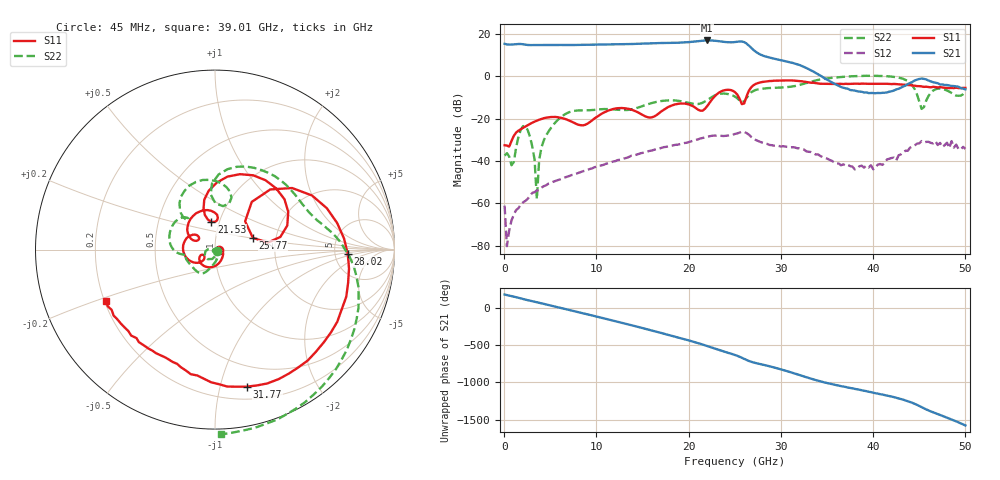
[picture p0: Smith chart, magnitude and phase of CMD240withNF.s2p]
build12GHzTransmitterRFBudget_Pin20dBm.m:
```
%% Build a 12 GHz transmitter RF budget at 20 dBm input power
% This budget represents one output path of the four-way transmitter:
% 4 GHz IF filter -> driver -> 8 GHz-LO upconverter -> Wilkinson output
% -> PA -> 12 GHz dipole. The splitter distributes the signal to four
% equivalent PA/antenna paths; only one path belongs in an rfbudget cascade.

scriptDir = fileparts(mfilename("fullpath"));
helpersDir = fullfile(scriptDir, "helpers");

%% Operating point
fIF = 4e9;
fLO = 8e9;
fRF = fIF + fLO;
BW = 100e6;
Pin = 20; % dBm, available input power at the 4 GHz IF filter

driverFile = fullfile(helpersDir, "CMD240withNF.s2p");
splitterFile = fullfile(helpersDir, "WilkinsonSplitterData.mat");
assert(isfile(driverFile), "Driver S-parameter file not found: %s", driverFile);
assert(isfile(splitterFile), "Splitter S-parameter file not found: %s", splitterFile);

%% BFIC #1: 4 GHz IF filter
ifFilter = rffilter( ...
    Name="IFfilter", ...
    FilterType="InverseChebyshev", ...
    ResponseType="Bandpass", ...
    FilterOrder=5, ...
    PassbandFrequency=fIF + [-BW/2 BW/2], ...
    PassbandAttenuation=3);

%% BFIC #2: measured driver amplifier
driver = amplifier( ...
    Name="DriverAmp", ...
    Model="sparam", ...
    FileName=driverFile, ...
    OIP3=28, ...
    OP1dB=19, ...
    OPsat=22);

%% BFIC #3: 4 GHz IF to 12 GHz RF upconverter
upconverter = modulator( ...
    Name="Upconverter", ...
    LO=fLO, ...
    ConverterType="Up", ...
    Gain=6, ...
    NF=3, ...
    OIP3=32);

%% BFIC #4: one output of the four-way Wilkinson splitter
splitterData = load(splitterFile, "splitterSparam");
splitter = nport(splitterData.splitterSparam, "WilkinsonSplitter");
splitter.Input = 1;
splitter.Output = 2;
splitter.Termination = 50;

%% Final PA and representative 12 GHz dipole
pa = amplifier( ...
    Name="PowerAmp", ...
    Model="poly", ...
    Gain=25, ...
    NF=6, ...
    OIP3=45, ...
    OP1dB=33, ...
    OPsat=37.5);

dipoleElement = design(dipole, fRF);
dipoleSParameters = sparameters(dipoleElement, fRF);
dipoleGain = pattern(dipoleElement, fRF, 0, 0);
txAntenna = rfantenna( ...
    Name="DipoleAntenna", ...
    Type="Transmitter", ...
    Gain=dipoleGain, ...
    Z=s2z(dipoleSParameters.Parameters));

%% Build and report the nonlinear RF budget
% At Pin = 20 dBm, the driver and PA are well above their linear regions.
% HarmonicBalance therefore models their compression rather than merely
% extrapolating the small-signal gains.
elements = [ifFilter driver upconverter splitter pa txAntenna];
budget = rfbudget( ...
    Elements=elements, ...
    InputFrequency=fIF, ...
    AvailableInputPower=Pin, ...
    SignalBandwidth=BW, ...
    Solver="HarmonicBalance", ...
    HarmonicOrder=3);

stage = [ ...
    "IF filter"
    "Driver amplifier"
    "Upconverter"
    "Wilkinson splitter (one output)"
    "Power amplifier"
    "Dipole antenna"];

stageBudget = table( ...
    stage, ...
    budget.OutputFrequency(:)/1e9, ...
    budget.TransducerGain(:), ...
    budget.NF(:), ...
    budget.OIP3(:), ...
    budget.OutputPower(:), ...
    VariableNames=[ ...
        "Stage"
        "OutputFrequency_GHz"
        "CumulativeGain_dB"
        "CumulativeNF_dB"
        "CumulativeOIP3_dBm"
        "OutputPower_dBm"]);

fprintf("12 GHz transmitter RF budget (one splitter output path)\n");
fprintf("IF + LO = RF: %.1f + %.1f = %.1f GHz\n", ...
    fIF/1e9, fLO/1e9, fRF/1e9);
fprintf("Bandwidth: %.0f MHz; Pin: %.1f dBm\n\n", BW/1e6, Pin);
disp(stageBudget);

driverHeadroom = driver.OP1dB - budget.OutputPower(2);
paHeadroom = pa.OP1dB - budget.OutputPower(5);
fprintf("Driver OP1dB headroom: %.2f dB\n", driverHeadroom);
fprintf("PA OP1dB headroom: %.2f dB\n", paHeadroom);
fprintf("Per-path EIRP: %.2f dBm\n", budget.OutputPower(end));
```
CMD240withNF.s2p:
# GHz S RI R 50
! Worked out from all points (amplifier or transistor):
!   201 points, 45 MHz to 50 GHz, reference 50 ohm
!   highest |S21| = 17.0 dB at 22.03 GHz (marker M1)
!   |S21| within 3 dB of that: start of sweep to 26.66 GHz
!   unconditionally stable (mu >= 1): start of sweep to 37.12 GHz; 41.81 GHz to end of sweep
!   at 8.288 GHz: K = 16.05, MAG = 15.0 dB, |S12| = -45.2 dB
!   at 25.02 GHz: K = 1.48, MAG = 17.6 dB, |S12| = -27.2 dB
!   at 50 GHz: K = 30.69, MAG = -3.8 dB, |S12| = -34.3 dB
!   lowest NFmin = 1.80 dB at 8 GHz
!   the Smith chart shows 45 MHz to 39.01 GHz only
!   S11 on the Smith chart (normalised r, x): 45 MHz: 1.05, -0.00; 21.53 GHz: 0.92, +0.29; 25.77 GHz: 1.52, +0.21; 28.02 GHz: 6.62, -0.68; 31.77 GHz: 0.31, -1.21; 39.01 GHz: 0.21, -0.21
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0.045  0.0236 -0.00218  -5.864 0.2441  -0.000436 -0.000772  0.00881 -0.0101
12.53375  -0.1784 0.00687  -5.533 1.44  -0.0103 0.00324  -0.1573 -0.0356
17.77903  -0.1547 0.109  6.16 -0.3081  0.0217 0.00468  -0.2456 0.1137
21.52565  -0.0197 0.1541  -4.766 -5.073  -0.0116 -0.0332  -0.1668 0.1716
22.0252  -0.0565 0.193  -6.303 -3.165  -0.0234 -0.0298  -0.1899 0.2032
25.27227  0.3641 0.0705  1.583 6.379  -0.0118 0.0434  0.0917 0.2888
25.77182  0.2106 0.0661  4.288 5.103  0.00907 0.0486  0.0449 0.242
28.0198  0.7397 -0.0233  2.313 -2.086  0.0268 -0.00388  0.2582 0.443
31.76642  0.1783 -0.7636  -1.903 -0.2775  -0.00638 -0.0191  0.5908 0.146
39.0099  -0.6076 -0.2853  0.3541 -0.2205  0.00578 0.00396  0.0335 -1.03
50  0.0684 0.5299  -0.3644 -0.3338  0.0181 -0.00673  -0.2507 -0.3443
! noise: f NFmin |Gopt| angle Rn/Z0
2  4  0  0  37.5
4  2.9  0  0  23.75
6  2.2  0  0  15
8  1.8  0  0  10
10  2.2  0  0  15
12  2  0  0  12.5
14  2.1  0  0  13.75
16  2.3  0  0  16.25
18  2.4  0  0  17.5
22  3.7  0  0  33.75
